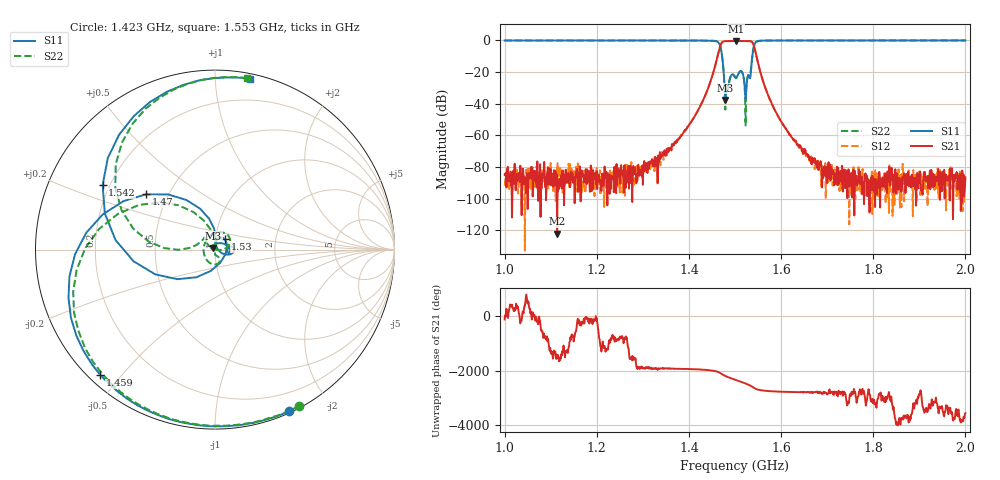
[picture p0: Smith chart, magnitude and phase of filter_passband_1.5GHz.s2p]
#  HZ  S  DB  R  50.00
! Rohde & Schwarz Vector Network Analyzer
! Rohde-Schwarz,ZNB8-4Port,1311601044102961,2.82
! Created: UTC 3/4/2022, 3:46:55 PM
! freq[Hz]  db:S11  ang:S11  db:S21  ang:S21  db:S12  ang:S12  db:S22  ang:S22
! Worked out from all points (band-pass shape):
!   1001 points, 1 GHz to 2 GHz, reference 50 ohm
!   highest |S21| = -0.36 dB at 1.502 GHz (marker M1); lowest = -122.2 dB at 1.114 GHz (marker M2)
!   |S21| within 3 dB of the highest: 1.468 GHz to 1.541 GHz (72.72 MHz wide, 4.83 % of centre)
!   lowest |S11| = -37.7 dB at 1.479 GHz (marker M3), VSWR 1.03, Z = 49 + j0.857 ohm
!   |S11| at or under -10 dB: 1.472 GHz to 1.538 GHz (65.53 MHz wide, 4.35 % of centre)
!   |S22| runs from -53.8 to 0.0 dB; largest |S21 - S12| = 0.0016
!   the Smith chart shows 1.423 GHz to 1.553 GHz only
!   S11 on the Smith chart (normalised r, x): 1.423 GHz: 0.02, -1.56; 1.459 GHz: 0.03, -0.44; 1.47 GHz: 0.38, +0.31; 1.53 GHz: 1.11, +0.13; 1.542 GHz: 0.17, +0.26; 1.553 GHz: 0.04, +1.23
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1e9  -0.05 21.8  -84.93 -120.1  -91.77 179.5  -0.05 25.1
1.114e9  -0.04 7.3  -122.20 -29.7  -85.37 -72.2  -0.05 10.7
1.167e9  -0.04 0.2  -82.09 78.9  -97.66 -10.8  -0.05 3.9
1.334e9  -0.05 -28.1  -74.71 -114.4  -72.68 -110.6  -0.06 -24.5
1.423e9  -0.09 -65.3  -42.43 -155.1  -42.47 -155.4  -0.10 -61.8
1.448e9  -0.17 -98.2  -24.88 172.1  -24.88 171.3  -0.18 -94.2
1.459e9  -0.47 -132.4  -13.80 137.1  -13.79 137.1  -0.49 -127.6
1.47e9  -6.16 141.2  -2.06 50.4  -2.06 50.4  -6.17 149.6
1.479e9  -37.65 138.1  -0.45 -34.4  -0.45 -34.4  -43.76 -62.9
1.488e9  -25.52 41.4  -0.39 -97.0  -0.38 -97.0  -25.02 -63.0
1.5e9  -22.84 -11.4  -0.37 -170.4  -0.37 -170.3  -23.43 -150.6
1.502e9  -23.36 -4.5  -0.36 177.7  -0.36 177.7  -23.94 178.2
1.517e9  -21.22 -17.8  -0.38 87.9  -0.38 88.0  -21.17 21.0
1.524e9  -32.74 73.9  -0.38 42.6  -0.38 42.5  -33.91 151.8
1.53e9  -22.01 46.4  -0.45 -0.7  -0.44 -0.6  -20.99 130.2
1.536e9  -14.58 -124.2  -0.74 -54.0  -0.73 -54.0  -13.79 -179.7
1.542e9  -2.83 150.1  -4.42 -121.1  -4.41 -121.1  -2.75 139.4
1.553e9  -0.25 78.4  -17.84 171.2  -17.86 171.2  -0.24 79.4
1.583e9  -0.06 27.3  -41.97 121.0  -41.83 123.5  -0.05 31.8
1.667e9  -0.04 -8.9  -78.30 66.1  -77.10 99.5  -0.04 -4.4
1.834e9  -0.03 -35.4  -87.04 97.6  -109.01 165.8  -0.03 -31.1
2e9  -0.03 -53.1  -86.42 41.0  -88.11 -68.1  -0.02 -48.8
